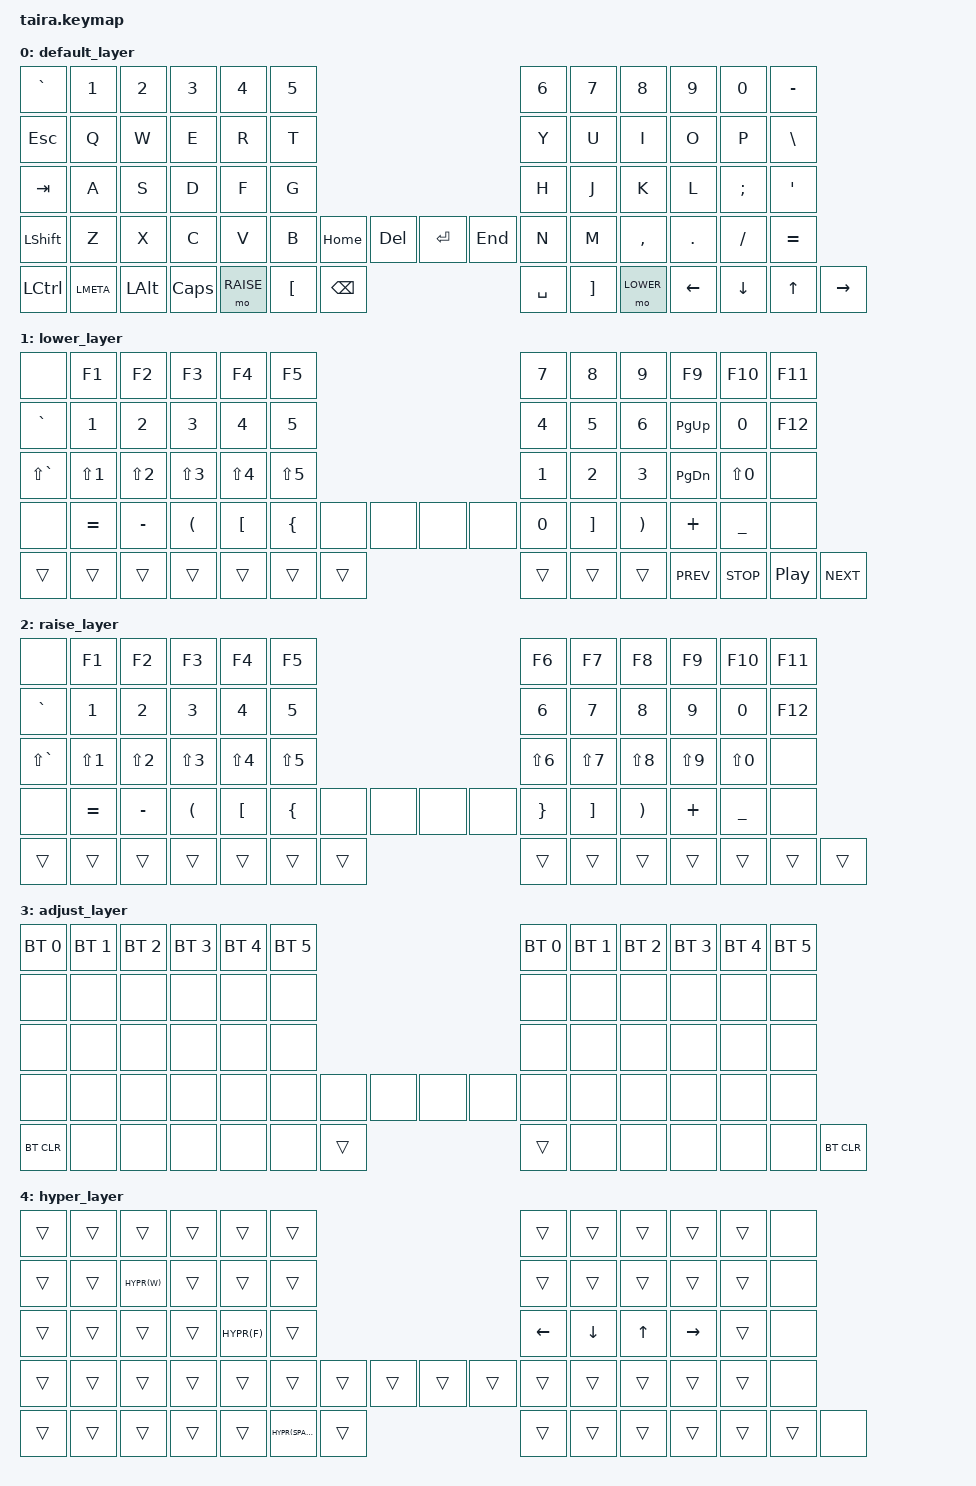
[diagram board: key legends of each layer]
/*
 * Copyright (c) 2020 The ZMK Contributors
 *
 * SPDX-License-Identifier: MIT
 */

#include <behaviors.dtsi>
#include <dt-bindings/zmk/keys.h>
#include <dt-bindings/zmk/outputs.h>
#include <dt-bindings/zmk/bt.h>

#define DEFAULT 0
#define LOWER   1
#define RAISE   2
#define ADJUST  3
#define HYPER   4

#define HYPR(KC) LC(LS(LA(LG(KC))))

/ {

        conditional_layers {
                compatible = "zmk,conditional-layers";

                tri_layer {
                        if-layers  = <1 2>;
                        then-layer = <3>;
                };
        };

        keymap {
                compatible = "zmk,keymap";

                default_layer {
/* QWERTY
 * .----------------------------------------------------------------------------------------------------------------------------------.
 * |  `   |   1  |   2  |   3  |   4  |   5  |                                              |   6  |   7  |   8  |   9  |   0  | -    |
 * |-------------+------+------+------+------+------+------+-------+-+-------+-------+------+------+------+------+------+------+------|
 * | ESC  |   Q  |   W  |   E  |   R  |   T  |                                              |   Y  |   U  |   I  |   O  |   P  |  \   |
 * |-------------+------+------+------+------+------+------+-------+-+-------+-------+------+------+------+------+------+------+------|
 * | Tab  |   A  |   S  |   D  |   F  |   G  |                                              |   H  |   J  |   K  |   L  |   ;  |  '   |
 * |-------------+------+------+------+------+------+------+-------+-+-------+-------+------+------+------+------+------+------+------|
 * | Shift|   Z  |   X  |   C  |   V  |   B  |      | Del  |  home | |  end | enter  |      |   N  |   M  |   ,  |   .  |   /  | =    |
 * |-------------+------+------+------+------+------+------+-------+-+-------+-------+------+------+------+------+------+------+------|
 * | Ctrl | win  | alt | CPSLK  |             | raise | bkspc| [    | |   ]   | space | lower |             | LEFT | DOWN | UP   | RIGHT|
 * .----------------------------------------------------------------------------------------------------------------------------------.
 */
                        bindings = <
&kp  GRAVE    &kp  N1    &kp  N2     &kp  N3     &kp  N4    &kp  N5                                                                        &kp  N6  &kp  N7    &kp  N8     &kp  N9    &kp  N0       &kp  MINUS
&kp  ESC      &kp  Q     &kp  W      &kp  E      &kp  R     &kp  T                                                                         &kp  Y   &kp  U     &kp  I      &kp  O     &kp  P        &kp  BSLH
&kp  TAB &kp  A     &kp  S      &kp  D      &kp  F     &kp  G                                                                         &kp  H   &kp  J     &kp  K      &kp  L     &kp  SEMI     &kp  SQT
&kp  LSHFT    &kp  Z     &kp  X      &kp  C      &kp  V     &kp  B               &kp  HOME &kp  DEL   &kp  ENTER &kp  END              &kp  N   &kp  M     &kp  COMMA  &kp  DOT   &kp  SLASH    &kp EQUAL
&kp  LCTRL    &kp LMETA   &kp  LALT  &kp  CAPS                       &mo RAISE   &kp  LBKT &kp  BSPC  &kp  SPACE &kp RBKT  &mo  LOWER                       &kp  LEFT   &kp  DOWN  &kp  UP       &kp  RIGHT
                        >;
                };

                lower_layer {
/* QWERTY
 * .----------------------------------------------------------------------------------------------------------------------------------.
 * |  `   |   1  |   2  |   3  |   4  |   5  |                                              |   7  |   8  |   9  |   9  |   0  | PScr |
 * |-------------+------+------+------+------+------+------+-------+-+-------+-------+------+------+------+------+------+------+------|
 * | ESC  |   Q  |   W  |   E  |   R  |   T  |                                              |   4  |   5  |   6  |   O  |   P  |  \   |
 * |-------------+------+------+------+------+------+------+-------+-+-------+-------+------+------+------+------+------+------+------|
 * | Tab  |   A  |   S  |   D  |   F  |   G  |                                              |   1  |   2  |   3  |   L  |   ;  |  '   |
 * |-------------+------+------+------+------+------+------+-------+-+-------+-------+------+------+------+------+------+------+------|
 * | Shift|   Z  |   X  |   C  |   V  |   B  |      | Del  | PGDN  | | PGUP  | Home  |      |   0  |   M  |   ,  |   .  |   /  | Shift|
 * |-------------+------+------+------+------+------+------+-------+-+-------+-------+------+------+------+------+------+------+------|
 * | Ctrl | Alt  | Meta | Alt  |             | Meta | Space| Lower | | Raise | Enter | RAlt |             | LEFT | DOWN | UP   | RIGHT|
 * .----------------------------------------------------------------------------------------------------------------------------------.
 */
                        bindings = <
&none          &kp  F1      &kp  F2      &kp  F3     &kp  F4     &kp  F5                                                                        &kp  N7    &kp  N8    &kp  N9     &kp  F9    &kp  F10      &kp  F11
&kp  GRAVE     &kp  N1      &kp  N2      &kp  N3     &kp  N4     &kp  N5                                                                        &kp  N4   &kp  N5    &kp  N6     &kp  PG_UP    &kp  N0       &kp  F12
&kp  LS(GRAVE) &kp LS(N1)   &kp  LS(N2)  &kp  LS(N3) &kp  LS(N4) &kp  LS(N5)                                                                    &kp N1     &kp N2    &kp N3  &kp PG_DN &kp  LS(N0)   &none
&none          &kp EQUAL    &kp MINUS    &kp  LPAR   &kp  LBKT   &kp  LBRC          &none       &none         &none       &none                 &kp N0   &kp RBKT   &kp RPAR    &kp PLUS   &kp  UNDER    &none
&trans         &trans       &trans       &trans                           &trans    &trans      &trans        &trans      &trans    &trans                            &kp C_PREV       &kp C_STOP     &kp C_PP        &kp C_NEXT 
                        >;
                };

                raise_layer {
/* QWERTY
 * .----------------------------------------------------------------------------------------------------------------------------------.
 * |  `   |   1  |   2  |   3  |   4  |   5  |                                              |   6  |   7  |   8  |   9  |   0  | PScr |
 * |-------------+------+------+------+------+------+------+-------+-+-------+-------+------+------+------+------+------+------+------|
 * | ESC  |   Q  |   W  |   E  |   R  |   T  |                                              |   Y  |   U  |   I  |   O  |   P  |  \   |
 * |-------------+------+------+------+------+------+------+-------+-+-------+-------+------+------+------+------+------+------+------|
 * | Tab  |   A  |   S  |   D  |   F  |   G  |                                              |   H  |   J  |   K  |   L  |   ;  |  '   |
 * |-------------+------+------+------+------+------+------+-------+-+-------+-------+------+------+------+------+------+------+------|
 * | Shift|   Z  |   X  |   C  |   V  |   B  |      | Del  | PGDN  | | PGUP  | Home  |      |   N  |   M  |   ,  |   .  |   /  | Shift|
 * |-------------+------+------+------+------+------+------+-------+-+-------+-------+------+------+------+------+------+------+------|
 * | Ctrl | Alt  | Meta | Alt  |             | Meta | Space| Lower | | Raise | Enter | RAlt |             | LEFT | DOWN | UP   | RIGHT|
 * .----------------------------------------------------------------------------------------------------------------------------------.
 */
                        bindings = <
&none          &kp  F1      &kp  F2      &kp  F3     &kp  F4     &kp  F5                                                                        &kp  F6    &kp  F7    &kp  F8     &kp  F9    &kp  F10      &kp  F11
&kp  GRAVE     &kp  N1      &kp  N2      &kp  N3     &kp  N4     &kp  N5                                                                        &kp  N6    &kp  N7    &kp  N8     &kp  N9    &kp  N0       &kp  F12
&kp  LS(GRAVE) &kp LS(N1)   &kp  LS(N2)  &kp  LS(N3) &kp  LS(N4) &kp  LS(N5)                                                                    &kp LS(N6) &kp LS(N7) &kp LS(N8)  &kp LS(N9) &kp  LS(N0)   &none
&none          &kp EQUAL    &kp MINUS    &kp  LPAR   &kp  LBKT   &kp  LBRC          &none       &none         &none       &none                 &kp RBRC   &kp RBKT   &kp RPAR    &kp PLUS   &kp  UNDER    &none
&trans         &trans       &trans       &trans                           &trans    &trans      &trans        &trans      &trans    &trans                            &trans      &trans     &trans        &trans
                        >;
                };

                adjust_layer {
/* QWERTY
 * .----------------------------------------------------------------------------------------------------------------------------------.
 * |  `   |   1  |   2  |   3  |   4  |   5  |                                              |   6  |   7  |   8  |   9  |   0  | PScr |
 * |-------------+------+------+------+------+------+------+-------+-+-------+-------+------+------+------+------+------+------+------|
 * | ESC  |   Q  |   W  |   E  |   R  |   T  |                                              |   Y  |   U  |   I  |   O  |   P  |  \   |
 * |-------------+------+------+------+------+------+------+-------+-+-------+-------+------+------+------+------+------+------+------|
 * | Tab  |   A  |   S  |   D  |   F  |   G  |                                              |   H  |   J  |   K  |   L  |   ;  |  '   |
 * |-------------+------+------+------+------+------+------+-------+-+-------+-------+------+------+------+------+------+------+------|
 * | Shift|   Z  |   X  |   C  |   V  |   B  |      | Del  | PGDN  | | PGUP  | Home  |      |   N  |   M  |   ,  |   .  |   /  | Shift|
 * |-------------+------+------+------+------+------+------+-------+-+-------+-------+------+------+------+------+------+------+------|
 * | Ctrl | Alt  | Meta | Alt  |             | Meta | Space| Lower | | Raise | Enter | RAlt |             | LEFT | DOWN | UP   | RIGHT|
 * .----------------------------------------------------------------------------------------------------------------------------------.
 */
                        bindings = <
&bt BT_SEL 0 &bt BT_SEL 1 &bt BT_SEL 2 &bt BT_SEL 3 &bt BT_SEL 4 &bt BT_SEL 5                                                                          &bt BT_SEL 0 &bt BT_SEL 1 &bt BT_SEL 2 &bt BT_SEL 3 &bt BT_SEL 4 &bt BT_SEL 5
&none        &none        &none        &none        &none        &none                                                                                 &none        &none        &none        &none        &none        &none
&none        &none        &none        &none        &none        &none                                                                                 &none        &none        &none        &none        &none        &none
&none        &none        &none        &none        &none        &none                     &none       &none         &none       &none                 &none        &none        &none        &none        &none        &none
&bt BT_CLR   &none        &none        &none                                     &none     &none       &trans        &trans      &none     &none                                 &none        &none        &none        &bt BT_CLR
                        >;
                };

                hyper_layer {
/* QWERTY
 * .----------------------------------------------------------------------------------------------------------------------------------.
 * |  `   |   1  |   2  |   3  |   4  |   5  |                                              |   6  |   7  |   8  |   9  |   0  | PScr |
 * |-------------+------+------+------+------+------+------+-------+-+-------+-------+------+------+------+------+------+------+------|
 * | ESC  |   Q  |   W  |   E  |   R  |   T  |                                              |   Y  |   U  |   I  |   O  |   P  |  \   |
 * |-------------+------+------+------+------+------+------+-------+-+-------+-------+------+------+------+------+------+------+------|
 * | Tab  |   A  |   S  |   D  |   F  |   G  |                                              |   H  |   J  |   K  |   L  |   ;  |  '   |
 * |-------------+------+------+------+------+------+------+-------+-+-------+-------+------+------+------+------+------+------+------|
 * | Shift|   Z  |   X  |   C  |   V  |   B  |      | Del  | PGDN  | | PGUP  | Home  |      |   N  |   M  |   ,  |   .  |   /  | Shift|
 * |-------------+------+------+------+------+------+------+-------+-+-------+-------+------+------+------+------+------+------+------|
 * | Ctrl | Alt  | Meta | Alt  |             | Meta | Space| Lower | | Raise | Enter | RAlt |             | LEFT | DOWN | UP   | RIGHT|
 * .----------------------------------------------------------------------------------------------------------------------------------.
 */
                        bindings = <
&trans        &trans     &trans      &trans      &trans      &trans                                                                         &trans   &trans     &trans      &trans     &trans        &none
&trans        &trans     &kp HYPR(W) &trans      &trans      &trans                                                                         &trans   &trans     &trans      &trans     &trans        &none
&trans        &trans     &trans      &trans      &kp HYPR(F) &trans                                                                         &kp LEFT &kp DOWN   &kp UP      &kp RIGHT  &trans        &none
&trans        &trans     &trans      &trans      &trans      &trans             &trans      &trans        &trans      &trans                &trans   &trans     &trans      &trans     &trans        &none
&trans        &trans     &trans      &trans                           &trans    &kp HYPR(SPACE)       &trans        &trans      &trans    &trans                          &trans      &trans     &trans        &none
                        >;
                };
        };
};
